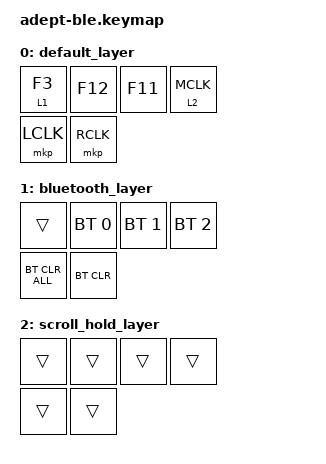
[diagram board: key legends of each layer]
#include <behaviors/mouse_keys.dtsi>
#include <dt-bindings/zmk/mouse.h>
#include <behaviors.dtsi>
#include <dt-bindings/zmk/bt.h>
#include <dt-bindings/zmk/keys.h>
#include <dt-bindings/zmk/pointing.h>

#define DEFAULT 0
#define SCRLM 1
#define SCRLH 2
#define DEVICE 3
#define BLTH 4
#define SNIPE 5

/ {
    combos {
        compatible = "zmk,combos";

        combo_esc {
            timeout-ms = <50>;
            key-positions = <2 3>;
            bindings = <&mkp RCLK>;
        };
    };

    behaviors {
        lhm: layer-tap-hold-or-mouse {
            compatible = "zmk,behavior-hold-tap";
            #binding-cells = <2>;
            flavor = "hold-preferred";
            hold-while-undecided;
            tapping-term-ms = <150>;
            bindings = <&mo>, <&mkp>;
        };

        lhk: layer-hold-keypress {
            compatible = "zmk,behavior-hold-tap";
            #binding-cells = <2>;
            flavor = "tap-preferred";
            tapping-term-ms = <200>;
            bindings = <&mo>, <&kp>;
            quick-tap-ms = <200>;
        };
    };

    keymap {
        compatible = "zmk,keymap";

        default_layer {
            bindings = <
&lhk 1 F3  &kp F12    &kp F11  &lhm 2 MCLK
&mkp LCLK  &mkp RCLK
            >;
        };

        bluetooth_layer {
            bindings = <
&trans          &bt BT_SEL 0  &bt BT_SEL 1  &bt BT_SEL 2
&bt BT_CLR_ALL  &bt BT_CLR
            >;
        };

        scroll_hold_layer {
            bindings = <
&trans  &trans  &trans  &trans
&trans  &trans
            >;
        };
    };
};
